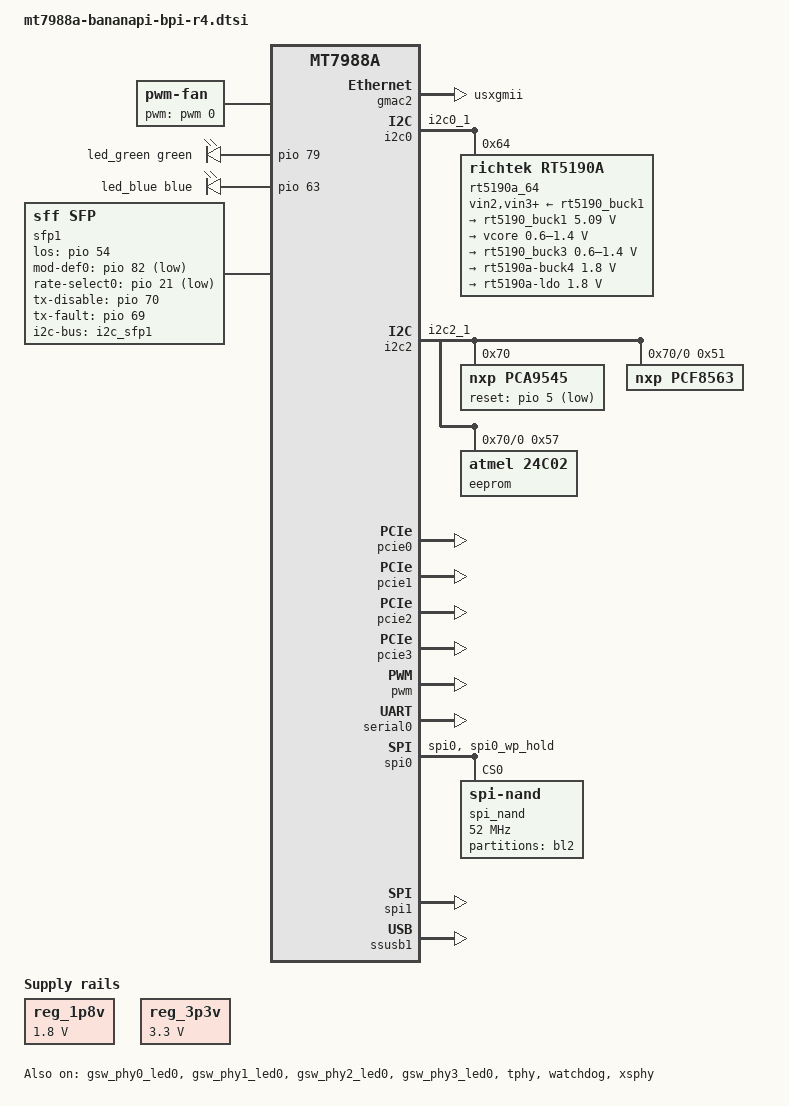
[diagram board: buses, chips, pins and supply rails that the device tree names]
// SPDX-License-Identifier: GPL-2.0-only OR MIT

/dts-v1/;

#include <dt-bindings/gpio/gpio.h>
#include <dt-bindings/leds/common.h>
#include <dt-bindings/regulator/richtek,rt5190a-regulator.h>
#include <dt-bindings/leds/common.h>

#include "mt7988a.dtsi"

/ {
	aliases {
		ethernet0 = &gmac0;
		ethernet1 = &gmac1;
		ethernet2 = &gmac2;
	};

	chosen {
		stdout-path = "serial0:115200n8";
	};

	fan: pwm-fan {
		compatible = "pwm-fan";
		/* cooling level (0, 1, 2, 3) : (0% duty, 30% duty, 50% duty, 100% duty) */
		cooling-levels = <0 80 128 255>;
		#cooling-cells = <2>;
		pwms = <&pwm 0 50000>;
		status = "okay";
	};

	gpio-leds {
		compatible = "gpio-leds";

		led_green: led-green {
			function = LED_FUNCTION_STATUS;
			color = <LED_COLOR_ID_GREEN>;
			gpios = <&pio 79 GPIO_ACTIVE_HIGH>;
			default-state = "on";
		};

		led_blue: led-blue {
			function = LED_FUNCTION_WPS;
			color = <LED_COLOR_ID_BLUE>;
			gpios = <&pio 63 GPIO_ACTIVE_HIGH>;
			default-state = "off";
		};
	};


	reg_1p8v: regulator-1p8v {
		compatible = "regulator-fixed";
		regulator-name = "fixed-1.8V";
		regulator-min-microvolt = <1800000>;
		regulator-max-microvolt = <1800000>;
		regulator-boot-on;
		regulator-always-on;
	};

	reg_3p3v: regulator-3p3v {
		compatible = "regulator-fixed";
		regulator-name = "fixed-3.3V";
		regulator-min-microvolt = <3300000>;
		regulator-max-microvolt = <3300000>;
		regulator-boot-on;
		regulator-always-on;
	};

	/* SFP1 cage (WAN) */
	sfp1: sfp1 {
		compatible = "sff,sfp";
		i2c-bus = <&i2c_sfp1>;
		maximum-power-milliwatt = <3000>;

		los-gpios = <&pio 54 GPIO_ACTIVE_HIGH>;
		mod-def0-gpios = <&pio 82 GPIO_ACTIVE_LOW>;
		rate-select0-gpios = <&pio 21 GPIO_ACTIVE_LOW>;
		tx-disable-gpios = <&pio 70 GPIO_ACTIVE_HIGH>;
		tx-fault-gpios = <&pio 69 GPIO_ACTIVE_HIGH>;
	};
};

&cci {
	proc-supply = <&rt5190_buck3>;
};

&cpu0 {
	proc-supply = <&rt5190_buck3>;
};

&cpu1 {
	proc-supply = <&rt5190_buck3>;
};

&cpu2 {
	proc-supply = <&rt5190_buck3>;
};

&cpu3 {
	proc-supply = <&rt5190_buck3>;
};

&cpu_thermal {
	trips {
		cpu_trip_hot: hot {
			temperature = <120000>;
			hysteresis = <2000>;
			type = "hot";
		};

		cpu_trip_active_high: active-high {
			temperature = <115000>;
			hysteresis = <2000>;
			type = "active";
		};

		cpu_trip_active_med: active-med {
			temperature = <85000>;
			hysteresis = <2000>;
			type = "active";
		};

		cpu_trip_active_low: active-low {
			temperature = <40000>;
			hysteresis = <2000>;
			type = "active";
		};
	};

	cooling-maps {
		map-cpu-active-high {
			/* active: set fan to cooling level 2 */
			cooling-device = <&fan 3 3>;
			trip = <&cpu_trip_active_high>;
		};

		map-cpu-active-med {
			/* active: set fan to cooling level 1 */
			cooling-device = <&fan 2 2>;
			trip = <&cpu_trip_active_med>;
		};

		map-cpu-active-low {
			/* active: set fan to cooling level 0 */
			cooling-device = <&fan 1 1>;
			trip = <&cpu_trip_active_low>;
		};
	};
};

&gmac2 {
	managed = "in-band-status";
	phy-mode = "usxgmii";
	sfp = <&sfp1>;
};

&gsw_phy0 {
	pinctrl-0 = <&gbe0_led0_pins>;
	pinctrl-names = "gbe-led";
};

&gsw_phy0_led0 {
	function = LED_FUNCTION_WAN;
	color = <LED_COLOR_ID_GREEN>;
	status = "okay";
};

&gsw_port0 {
	label = "wan";
};

&gsw_phy1 {
	pinctrl-0 = <&gbe1_led0_pins>;
	pinctrl-names = "gbe-led";
};

&gsw_phy1_led0 {
	function = LED_FUNCTION_LAN;
	color = <LED_COLOR_ID_GREEN>;
	status = "okay";
};

&gsw_port1 {
	label = "lan1";
};

&gsw_phy2 {
	pinctrl-0 = <&gbe2_led0_pins>;
	pinctrl-names = "gbe-led";
};

&gsw_phy2_led0 {
	function = LED_FUNCTION_LAN;
	color = <LED_COLOR_ID_GREEN>;
	status = "okay";
};

&gsw_port2 {
	label = "lan2";
};

&gsw_phy3 {
	pinctrl-0 = <&gbe3_led0_pins>;
	pinctrl-names = "gbe-led";
};

&gsw_phy3_led0 {
	function = LED_FUNCTION_LAN;
	color = <LED_COLOR_ID_GREEN>;
	status = "okay";
};

&gsw_port3 {
	label = "lan3";
};

&i2c0 {
	pinctrl-names = "default";
	pinctrl-0 = <&i2c0_pins>;
	status = "okay";

	rt5190a_64: rt5190a@64 {
		compatible = "richtek,rt5190a";
		reg = <0x64>;
		vin2-supply = <&rt5190_buck1>;
		vin3-supply = <&rt5190_buck1>;
		vin4-supply = <&rt5190_buck1>;

		regulators {
			rt5190_buck1: buck1 {
				regulator-name = "rt5190a-buck1";
				regulator-min-microvolt = <5090000>;
				regulator-max-microvolt = <5090000>;
				regulator-allowed-modes =
				<RT5190A_OPMODE_AUTO>, <RT5190A_OPMODE_FPWM>;
				regulator-boot-on;
				regulator-always-on;
			};
			buck2 {
				regulator-name = "vcore";
				regulator-min-microvolt = <600000>;
				regulator-max-microvolt = <1400000>;
				regulator-boot-on;
				regulator-always-on;
			};
			rt5190_buck3: buck3 {
				regulator-name = "vproc";
				regulator-min-microvolt = <600000>;
				regulator-max-microvolt = <1400000>;
				regulator-boot-on;
			};
			buck4 {
				regulator-name = "rt5190a-buck4";
				regulator-min-microvolt = <1800000>;
				regulator-max-microvolt = <1800000>;
				regulator-allowed-modes =
				<RT5190A_OPMODE_AUTO>, <RT5190A_OPMODE_FPWM>;
				regulator-boot-on;
				regulator-always-on;
			};
			ldo {
				regulator-name = "rt5190a-ldo";
				regulator-min-microvolt = <1800000>;
				regulator-max-microvolt = <1800000>;
				regulator-boot-on;
				regulator-always-on;
			};
		};
	};
};

&i2c2 {
	pinctrl-names = "default";
	pinctrl-0 = <&i2c2_1_pins>;
	status = "okay";

	pca9545: i2c-mux@70 {
		compatible = "nxp,pca9545";
		reg = <0x70>;
		reset-gpios = <&pio 5 GPIO_ACTIVE_LOW>;
		#address-cells = <1>;
		#size-cells = <0>;

		i2c@0 {
			#address-cells = <1>;
			#size-cells = <0>;
			reg = <0>;

			pcf8563: rtc@51 {
				compatible = "nxp,pcf8563";
				reg = <0x51>;
				#clock-cells = <0>;
			};

			eeprom@57 {
				compatible = "atmel,24c02";
				reg = <0x57>;
				size = <256>;
			};

		};

		i2c_sfp1: i2c@1 {
			#address-cells = <1>;
			#size-cells = <0>;
			reg = <1>;
		};
	};
};

/* mPCIe SIM2 */
&pcie0 {
	status = "okay";
};

/* mPCIe SIM3 */
&pcie1 {
	status = "okay";
};

/* M.2 key-B SIM1 */
&pcie2 {
	status = "okay";
};

/* M.2 key-M SSD */
&pcie3 {
	status = "okay";
};

&pio {
	i2c0_pins: i2c0-g0-pins {
		mux {
			function = "i2c";
			groups = "i2c0_1";
		};
	};

	i2c1_pins: i2c1-g0-pins {
		mux {
			function = "i2c";
			groups = "i2c1_0";
		};
	};

	i2c2_1_pins: i2c2-g1-pins {
		mux {
			function = "i2c";
			groups = "i2c2_1";
		};
	};

	gbe0_led0_pins: gbe0-led0-pins {
		mux {
			function = "led";
			groups = "gbe0_led0";
		};
	};

	gbe1_led0_pins: gbe1-led0-pins {
		mux {
			function = "led";
			groups = "gbe1_led0";
		};
	};

	gbe2_led0_pins: gbe2-led0-pins {
		mux {
			function = "led";
			groups = "gbe2_led0";
		};
	};

	gbe3_led0_pins: gbe3-led0-pins {
		mux {
			function = "led";
			groups = "gbe3_led0";
		};
	};

	i2p5gbe_led0_pins: 2p5gbe-led0-pins {
		mux {
			function = "led";
			groups = "2p5gbe_led0";
		};
	};

	mmc0_pins_emmc_45: mmc0-emmc-45-pins {
		mux {
			function = "flash";
			groups = "emmc_45";
		};
	};

	mmc0_pins_emmc_51: mmc0-emmc-51-pins {
		mux {
			function = "flash";
			groups = "emmc_51";
		};
	};

	mmc0_pins_sdcard: mmc0-sdcard-pins {
		mux {
			function = "flash";
			groups = "sdcard";
		};
	};

	spi0_flash_pins: spi0-flash-pins {
		mux {
			function = "spi";
			groups = "spi0", "spi0_wp_hold";
		};
	};
};

&pwm {
	status = "okay";
};

&serial0 {
	status = "okay";
};

&spi0 {
	pinctrl-names = "default";
	pinctrl-0 = <&spi0_flash_pins>;
	status = "okay";

	spi_nand: flash@0 {
		compatible = "spi-nand";
		reg = <0>;
		spi-max-frequency = <52000000>;
		spi-tx-bus-width = <4>;
		spi-rx-bus-width = <4>;
	};
};

&spi1 {
	status = "okay";
};

&spi_nand {
	partitions {
		compatible = "fixed-partitions";
		#address-cells = <1>;
		#size-cells = <1>;

		partition@0 {
			label = "bl2";
			reg = <0x0 0x200000>;
			read-only;
		};
	};
};

&ssusb1 {
	status = "okay";
};

&tphy {
	status = "okay";
};

&watchdog {
	status = "okay";
};

&xsphy {
	status = "okay";
};
